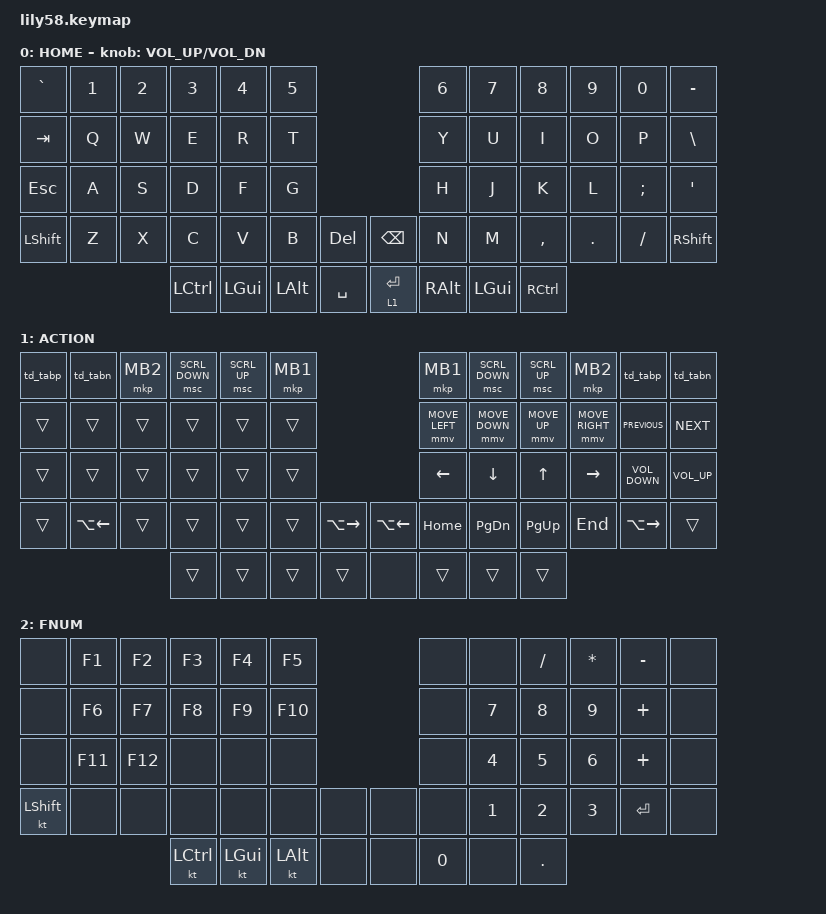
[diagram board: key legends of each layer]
/*
 * Copyright (c) 2020 The ZMK Contributors
 *
 * SPDX-License-Identifier: MIT
 */

#include <behaviors.dtsi>
#include <dt-bindings/zmk/bt.h>
#include <dt-bindings/zmk/keys.h>
#include <dt-bindings/zmk/pointing.h>

/ {
    combos {
        compatible = "zmk,combos";

        ACTION_MB3 {
            bindings = <&mkp MB3>;
            key-positions = <7 8>;
            layers = <1>;
        };

        BASE_BT0 {
            bindings = <&bt BT_SEL 0>;
            key-positions = <1 53>;
            layers = <0>;
        };

        BASE_BT1 {
            bindings = <&bt BT_SEL 1>;
            key-positions = <53 2>;
            layers = <0>;
        };

        BASE_BT2 {
            bindings = <&bt BT_SEL 2>;
            key-positions = <53 3>;
            layers = <0>;
        };

        BASE_BT3 {
            bindings = <&bt BT_SEL 3>;
            key-positions = <53 4>;
            layers = <0>;
        };

        BASE_BT4 {
            bindings = <&bt BT_SEL 4>;
            key-positions = <53 5>;
            layers = <0>;
        };

        BASE_BrackBraceL_EnterCombo {
            bindings = <&kp LEFT_BRACKET>;
            key-positions = <54 9>;
            layers = <0>;
        };

        BASE_BrackBraceR_EnterCombo {
            bindings = <&kp RIGHT_BRACKET>;
            key-positions = <54 10>;
            layers = <0>;
        };

        BASE_EqualsPlus_EnterCombo {
            bindings = <&kp EQUAL>;
            key-positions = <54 11>;
            layers = <0>;
        };

        BASE_DoubleTap_BTCLR {
            bindings = <&td_none_btclr>;
            key-positions = <53 0>;
            layers = <0>;
        };

        ACTION_Mute {
            bindings = <&kp C_MUTE>;
            key-positions = <34 35>;
            layers = <1>;
        };

        ACTION_PlayPause {
            bindings = <&kp C_PP>;
            key-positions = <22 23>;
            layers = <1>;
        };

        ACTION_F_Fivedra {
            bindings = <&td_f_fivedra>;
            key-positions = <43 48>;
            layers = <1>;
        };

        ACTION_tabdaga {
            bindings = <&td_tabdaga>;
            key-positions = <10 11>;
            layers = <1>;
        };

        ACTION_F_Fivedra_LEFT {
            bindings = <&td_f_fivedra>;
            key-positions = <42 37>;
            layers = <1>;
        };

        ACTION_tabdaga_LEFT {
            bindings = <&td_tabdaga>;
            key-positions = <0 1>;
            layers = <1>;
        };

        BASE_hold_FNUM_left {
            bindings = <&mo 2>;
            key-positions = <53 42>;
        };

        BASE_hold_ACTION_left {
            bindings = <&mo 1>;
            key-positions = <52 53>;
        };

        BASE_hold_FNUM_right {
            bindings = <&mo 2>;
            key-positions = <54 43>;
        };

        ASE_BrackBraceL {
            bindings = <&kp LEFT_BRACKET>;
            key-positions = <9 21>;
            layers = <0>;
        };

        ASE_BrackBraceR {
            bindings = <&kp RIGHT_BRACKET>;
            key-positions = <10 22>;
            layers = <0>;
        };

        BASE_EqualsPlus {
            bindings = <&kp EQUAL>;
            key-positions = <11 23>;
            layers = <0>;
        };

        BASE_F1 {
            bindings = <&kp F1>;
            key-positions = <28 1>;
            layers = <0>;
        };

        BASE_F2 {
            bindings = <&kp F2>;
            key-positions = <28 2>;
            layers = <0>;
        };

        BASE_F3 {
            bindings = <&kp F3>;
            key-positions = <28 3>;
            layers = <0>;
        };

        BASE_F4 {
            bindings = <&kp F4>;
            key-positions = <28 4>;
            layers = <0>;
        };

        BASE_F5 {
            bindings = <&kp F5>;
            key-positions = <28 5>;
            layers = <0>;
        };

        BASE_F6 {
            bindings = <&kp F6>;
            key-positions = <28 6>;
            layers = <0>;
        };

        BASE_F7 {
            bindings = <&kp F7>;
            key-positions = <28 7>;
            layers = <0>;
        };

        BASE_F8 {
            bindings = <&kp F8>;
            key-positions = <28 8>;
            layers = <0>;
        };

        BASE_F9 {
            bindings = <&kp F9>;
            key-positions = <28 9>;
            layers = <0>;
        };

        BASE_F10 {
            bindings = <&kp F10>;
            key-positions = <28 10>;
            layers = <0>;
        };

        BASE_F11 {
            bindings = <&kp F11>;
            key-positions = <28 0>;
            layers = <0>;
        };

        BASE_F12 {
            bindings = <&kp F12>;
            key-positions = <28 11>;
            layers = <0>;
        };

        BASE_CapsLock {
            bindings = <&kp CAPSLOCK>;
            key-positions = <36 49>;
        };
    };

    behaviors {
        td_f_fivedra: td_f_fivedra {
            compatible = "zmk,behavior-tap-dance";
            label = "TD_F_FIVEDRA";
            #binding-cells = <0>;
            bindings = <&kp F5>, <&kp LS(F5)>;
        };

        td_tabp: td_tabp {
            compatible = "zmk,behavior-tap-dance";
            label = "TD_TABD";
            #binding-cells = <0>;
            bindings = <&kp LC(LS(TAB))>, <&kp LC(PAGE_UP)>;
        };

        td_tabn: td_tabn {
            compatible = "zmk,behavior-tap-dance";
            label = "TD_TABN";
            #binding-cells = <0>;
            bindings = <&kp LC(TAB)>, <&kp LC(PAGE_DOWN)>;
        };

        td_none_btclr: td_none_btclr {
            compatible = "zmk,behavior-tap-dance";
            label = "TD_NONE_BTCLR";
            #binding-cells = <0>;
            bindings = <&none>, <&bt BT_CLR>;
        };

        td_tabdaga: td_tabdaga {
            compatible = "zmk,behavior-tap-dance";
            label = "TD_TABDAGA";
            #binding-cells = <0>;
            bindings = <&mt LC(LS(W)) LC(W)>, <&kp LC(W)>;
        };
    };

    keymap {
        compatible = "zmk,keymap";

        BASE {
            // ------------------------------------------------------------------------------------------------------------
            // |  ESC  |  1  |  2  |  3   |  4   |  5   |                   |  6   |  7    |  8    |  9   |   0   |   `   |
            // |  TAB  |  Q  |  W  |  E   |  R   |  T   |                   |  Y   |  U    |  I    |  O   |   P   |   -   |
            // |  CTRL |  A  |  S  |  D   |  F   |  G   |                   |  H   |  J    |  K    |  L   |   ;   |   '   |
            // | SHIFT |  Z  |  X  |  C   |  V   |  B   |   "["  |  |  "]"  |  N   |  M    |  ,    |  .   |   /   | SHIFT |
            //                     | ALT  | GUI  | LOWER|  SPACE |  | ENTER | RAISE| BSPC  | GUI   |

            display-name = "HOME";
            bindings = <
&kp GRAVE  &kp N1  &kp N2  &kp N3     &kp N4    &kp N5                                     &kp N6         &kp N7    &kp N8     &kp N9   &kp N0    &kp MINUS
&kp TAB    &kp Q   &kp W   &kp E      &kp R     &kp T                                      &kp Y          &kp U     &kp I      &kp O    &kp P     &kp BACKSLASH
&kp ESC    &kp A   &kp S   &kp D      &kp F     &kp G                                      &kp H          &kp J     &kp K      &kp L    &kp SEMI  &kp SQT
&kp LSHFT  &kp Z   &kp X   &kp C      &kp V     &kp B         &kp DELETE    &kp BACKSPACE  &kp N          &kp M     &kp COMMA  &kp DOT  &kp FSLH  &kp RSHFT
                           &kp LCTRL  &kp LGUI  &kp LEFT_ALT  &kp SPACE     &lt 1 ENTER    &kp RIGHT_ALT  &kp LGUI  &kp RCTRL
            >;

            sensor-bindings = <&inc_dec_kp C_VOL_UP C_VOL_DN>;
            label = "BASE";
        };

        ACTION {
            bindings = <
&td_tabp  &td_tabn            &mkp MB2  &msc SCRL_DOWN  &msc SCRL_UP  &mkp MB1                                             &mkp MB1        &msc SCRL_DOWN  &msc SCRL_UP  &mkp MB2         &td_tabp             &td_tabn
&trans    &trans              &trans    &trans          &trans        &trans                                               &mmv MOVE_LEFT  &mmv MOVE_DOWN  &mmv MOVE_UP  &mmv MOVE_RIGHT  &kp C_PREVIOUS       &kp C_NEXT
&trans    &trans              &trans    &trans          &trans        &trans                                               &kp LEFT        &kp DOWN        &kp UP        &kp RIGHT        &kp C_VOLUME_DOWN    &kp C_VOLUME_UP
&trans    &kp LA(LEFT_ARROW)  &trans    &trans          &trans        &trans    &kp LA(RIGHT_ARROW)    &kp LA(LEFT_ARROW)  &kp HOME        &kp PG_DN       &kp PG_UP     &kp END          &kp LA(RIGHT_ARROW)  &trans
                                        &trans          &trans        &trans    &trans                 &none               &trans          &trans          &trans
            >;

            label = "ACTION";
        };

        FNUM {
            bindings = <
&none      &kp F1   &kp F2   &kp F3     &kp F4    &kp F5                    &none   &none   &kp FSLH  &kp STAR  &kp MINUS  &none
&none      &kp F6   &kp F7   &kp F8     &kp F9    &kp F10                   &none   &kp N7  &kp N8    &kp N9    &kp PLUS   &none
&none      &kp F11  &kp F12  &none      &none     &none                     &none   &kp N4  &kp N5    &kp N6    &kp PLUS   &none
&kt LSHFT  &none    &none    &none      &none     &none     &none    &none  &none   &kp N1  &kp N2    &kp N3    &kp RET    &none
                             &kt LCTRL  &kt LGUI  &kt LALT  &none    &none  &kp N0  &none   &kp DOT
            >;

            label = "FNUM";
        };
    };
};
